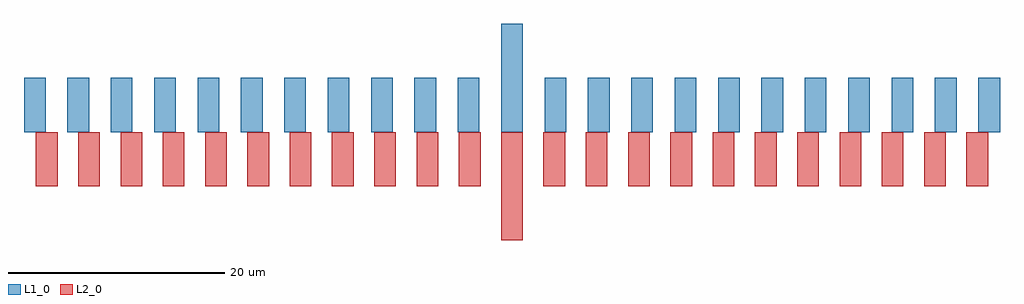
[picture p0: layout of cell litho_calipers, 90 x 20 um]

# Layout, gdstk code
import gdstk
lib = gdstk.Library(unit=1e-6, precision=1e-09)
def R(c, l, rs):  # rectangles x0, y0, x1, y1
    for r in rs: c.add(gdstk.rectangle(r[:2], r[2:], *l))
L1_0 = (1, 0)
L2_0 = (2, 0)

compass_2ede8321 = lib.new_cell('compass_2ede8321')
R(compass_2ede8321, L1_0, [(-1,-2.5,1,2.5)])

rectangle_2ede8321 = lib.new_cell('rectangle_2ede8321')
rectangle_2ede8321.add(gdstk.Reference(compass_2ede8321, (1,2.5)))

compass_285efd65 = lib.new_cell('compass_285efd65')
R(compass_285efd65, L2_0, [(-1,-2.5,1,2.5)])

rectangle_285efd65 = lib.new_cell('rectangle_285efd65')
rectangle_285efd65.add(gdstk.Reference(compass_285efd65, (1,2.5)))

litho_calipers = lib.new_cell('litho_calipers')
litho_calipers.add(gdstk.Reference(rectangle_2ede8321, (0,0)))
litho_calipers.add(gdstk.Reference(rectangle_285efd65, (1.1,-5)))
litho_calipers.add(gdstk.Reference(rectangle_2ede8321, (4,0)))
litho_calipers.add(gdstk.Reference(rectangle_285efd65, (5,-5)))
litho_calipers.add(gdstk.Reference(rectangle_2ede8321, (8,0)))
litho_calipers.add(gdstk.Reference(rectangle_285efd65, (8.9,-5)))
litho_calipers.add(gdstk.Reference(rectangle_2ede8321, (12,0)))
litho_calipers.add(gdstk.Reference(rectangle_285efd65, (12.8,-5)))
litho_calipers.add(gdstk.Reference(rectangle_2ede8321, (16,0)))
litho_calipers.add(gdstk.Reference(rectangle_285efd65, (16.7,-5)))
litho_calipers.add(gdstk.Reference(rectangle_2ede8321, (20,0)))
litho_calipers.add(gdstk.Reference(rectangle_285efd65, (20.6,-5)))
litho_calipers.add(gdstk.Reference(rectangle_2ede8321, (24,0)))
litho_calipers.add(gdstk.Reference(rectangle_285efd65, (24.5,-5)))
litho_calipers.add(gdstk.Reference(rectangle_2ede8321, (28,0)))
litho_calipers.add(gdstk.Reference(rectangle_285efd65, (28.4,-5)))
litho_calipers.add(gdstk.Reference(rectangle_2ede8321, (32,0)))
litho_calipers.add(gdstk.Reference(rectangle_285efd65, (32.3,-5)))
litho_calipers.add(gdstk.Reference(rectangle_2ede8321, (36,0)))
litho_calipers.add(gdstk.Reference(rectangle_285efd65, (36.2,-5)))
litho_calipers.add(gdstk.Reference(rectangle_2ede8321, (40,0)))
litho_calipers.add(gdstk.Reference(rectangle_285efd65, (40.1,-5)))
litho_calipers.add(gdstk.Reference(rectangle_2ede8321, (44,5)))
litho_calipers.add(gdstk.Reference(rectangle_285efd65, (44,-10)))
litho_calipers.add(gdstk.Reference(rectangle_2ede8321, (44,0)))
litho_calipers.add(gdstk.Reference(rectangle_285efd65, (44,-5)))
litho_calipers.add(gdstk.Reference(rectangle_2ede8321, (48,0)))
litho_calipers.add(gdstk.Reference(rectangle_285efd65, (47.9,-5)))
litho_calipers.add(gdstk.Reference(rectangle_2ede8321, (52,0)))
litho_calipers.add(gdstk.Reference(rectangle_285efd65, (51.8,-5)))
litho_calipers.add(gdstk.Reference(rectangle_2ede8321, (56,0)))
litho_calipers.add(gdstk.Reference(rectangle_285efd65, (55.7,-5)))
litho_calipers.add(gdstk.Reference(rectangle_2ede8321, (60,0)))
litho_calipers.add(gdstk.Reference(rectangle_285efd65, (59.6,-5)))
litho_calipers.add(gdstk.Reference(rectangle_2ede8321, (64,0)))
litho_calipers.add(gdstk.Reference(rectangle_285efd65, (63.5,-5)))
litho_calipers.add(gdstk.Reference(rectangle_2ede8321, (68,0)))
litho_calipers.add(gdstk.Reference(rectangle_285efd65, (67.4,-5)))
litho_calipers.add(gdstk.Reference(rectangle_2ede8321, (72,0)))
litho_calipers.add(gdstk.Reference(rectangle_285efd65, (71.3,-5)))
litho_calipers.add(gdstk.Reference(rectangle_2ede8321, (76,0)))
litho_calipers.add(gdstk.Reference(rectangle_285efd65, (75.2,-5)))
litho_calipers.add(gdstk.Reference(rectangle_2ede8321, (80,0)))
litho_calipers.add(gdstk.Reference(rectangle_285efd65, (79.1,-5)))
litho_calipers.add(gdstk.Reference(rectangle_2ede8321, (84,0)))
litho_calipers.add(gdstk.Reference(rectangle_285efd65, (83,-5)))
litho_calipers.add(gdstk.Reference(rectangle_2ede8321, (88,0)))
litho_calipers.add(gdstk.Reference(rectangle_285efd65, (86.9,-5)))

lib.write_gds('litho_calipers.gds')
